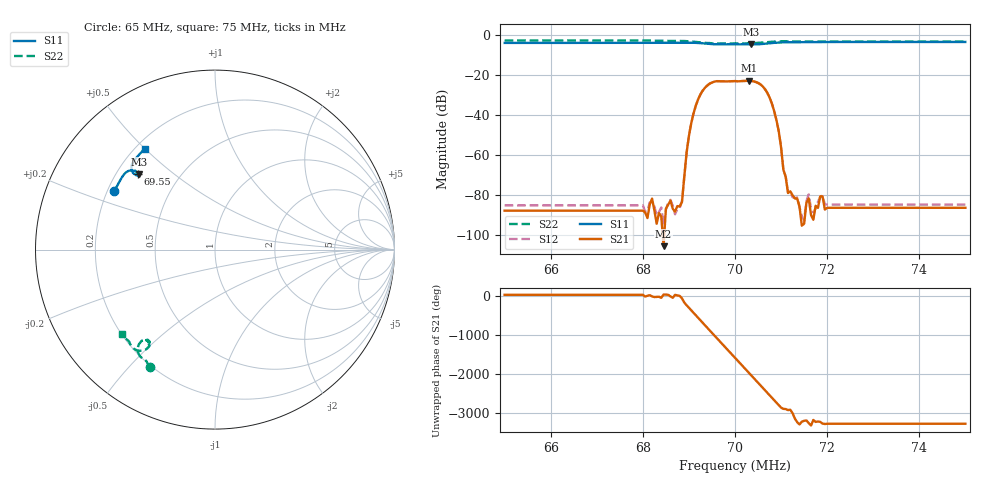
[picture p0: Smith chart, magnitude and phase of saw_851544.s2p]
# MHz  S  MA  R  50.00000
! SCATTERING PARAMETERS :
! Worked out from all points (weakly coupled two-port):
!   201 points, 65 MHz to 75 MHz, reference 50 ohm
!   highest |S21| = -22.72 dB at 70.3 MHz (marker M1); lowest = -105.4 dB at 68.45 MHz (marker M2)
!   lowest |S11| = -4.5 dB at 70.35 MHz (marker M3), VSWR 3.93, Z = 14.7 + j19.1 ohm
!   |S11| at or under -10 dB: nowhere
!   |S22| runs from -4.1 to -2.5 dB; largest |S21 - S12| = 0.00038
!   S11 on the Smith chart (normalised r, x): 65 MHz: 0.23, +0.26; 69.55 MHz: 0.29, +0.38; 75 MHz: 0.24, +0.50
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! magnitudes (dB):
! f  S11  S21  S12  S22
! 65 MHz  -3.8  -87.6  -84.9  -2.5
! 66.7 MHz  -3.8  -87.6  -84.9  -2.5
! 68.35 MHz  -3.7  -88.8  -88.3  -2.7
! 68.45 MHz  -3.7  -105.4  -94.8  -2.7
! 68.85 MHz  -3.7  -83.2  -82.7  -2.8
! 69 MHz  -3.6  -50.3  -50.2  -2.9
! 69.1 MHz  -3.7  -39.0  -39.0  -3.1
! 69.3 MHz  -4.0  -27.6  -27.5  -3.6
! 69.55 MHz  -4.4  -23.1  -23.1  -4.0
! 70 MHz  -4.4  -22.9  -22.8  -4.0
! 70.3 MHz  -4.5  -22.7  -22.7  -3.9
! 70.35 MHz  -4.5  -22.8  -22.8  -4.0
! 70.6 MHz  -4.3  -25.5  -25.4  -3.6
! 70.8 MHz  -3.8  -34.0  -34.0  -3.2
! 70.95 MHz  -3.6  -48.0  -48.0  -3.0
! 71 MHz  -3.5  -55.9  -55.9  -2.9
! 71.05 MHz  -3.5  -67.2  -66.9  -2.9
! 71.1 MHz  -3.5  -70.7  -70.6  -2.9
! 71.15 MHz  -3.5  -78.8  -78.4  -3.0
! 71.7 MHz  -3.3  -92.2  -88.5  -3.1
! 73.35 MHz  -3.3  -86.2  -84.6  -3.1
! 75 MHz  -3.3  -86.2  -84.6  -3.1
